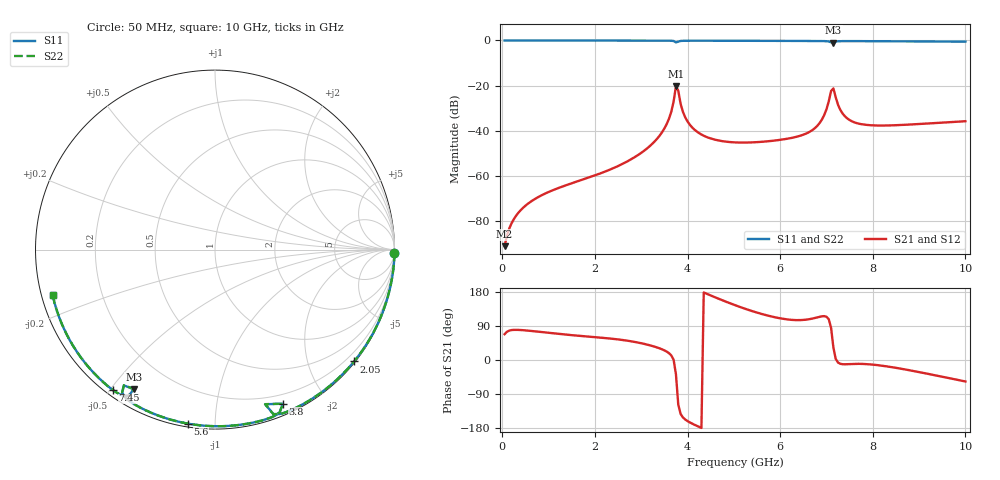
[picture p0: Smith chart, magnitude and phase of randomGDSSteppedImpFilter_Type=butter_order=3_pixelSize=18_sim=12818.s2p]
! freq	dB(S11)	phase(S11)	dB(S12)	phase(S12)
!  dB(S21)	phase(S21)	dB(S22)	phase(S22)
!S-par simulation data
#  GHz  S  DB  R 50
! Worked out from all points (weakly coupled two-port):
!   200 points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, 50 MHz to 10 GHz, reference 50 ohm
!   highest |S21| = -20.21 dB at 3.75 GHz (marker M1); lowest = -91.2 dB at 50 MHz (marker M2)
!   lowest |S11| = -0.9 dB at 7.15 GHz (marker M3), VSWR 19.03, Z = 3.49 - j28.6 ohm
!   |S11| at or under -10 dB: nowhere
!   |S22| runs from -0.9 to 0.0 dB; largest |S21 - S12| = 0
!   S11 on the Smith chart (normalised r, x): 50 MHz: open; 2.05 GHz: 0.03, -2.84; 3.8 GHz: 0.11, -1.53; 5.6 GHz: 0.02, -0.86; 7.45 GHz: 0.02, -0.51; 10 GHz: 0.03, -0.14
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0.05  -0.00 -1.0  -91.18 68.1  -91.18 68.1  -0.00 -1.0
0.2  -0.00 -3.9  -81.04 79.0  -81.04 79.0  -0.00 -3.9
0.8  -0.02 -15.4  -69.14 74.3  -69.14 74.3  -0.02 -15.4
1.75  -0.04 -33.2  -61.58 62.8  -61.58 62.8  -0.04 -33.3
2.05  -0.05 -38.8  -59.44 59.8  -59.44 59.8  -0.05 -38.8
2.9  -0.07 -54.2  -51.20 46.8  -51.20 46.8  -0.07 -54.2
3.4  -0.09 -63.3  -42.12 30.6  -42.12 30.6  -0.09 -63.3
3.6  -0.11 -67.3  -34.68 18.0  -34.68 18.0  -0.11 -67.4
3.7  -0.24 -70.4  -27.01 0.3  -27.01 0.3  -0.24 -70.5
3.75  -0.86 -72.0  -20.21 -38.0  -20.21 -38.0  -0.87 -72.1
3.8  -0.55 -66.2  -22.27 -117.8  -22.27 -117.8  -0.56 -66.2
3.95  -0.13 -71.1  -34.08 -157.0  -34.08 -157.0  -0.13 -71.1
4.15  -0.11 -75.0  -39.54 -170.9  -39.54 -170.9  -0.11 -75.0
5.05  -0.14 -90.1  -45.21 143.6  -45.21 143.6  -0.14 -90.1
5.6  -0.16 -98.9  -44.92 121.5  -44.92 121.5  -0.16 -98.9
6.7  -0.24 -116.1  -39.68 109.4  -39.68 109.4  -0.24 -116.2
6.95  -0.30 -120.5  -33.13 115.8  -33.13 115.8  -0.30 -120.6
7.15  -0.91 -120.2  -21.25 32.9  -21.25 32.9  -0.93 -120.2
7.3  -0.31 -123.2  -30.80 -10.1  -30.80 -10.1  -0.31 -123.2
7.45  -0.29 -126.0  -34.57 -11.0  -34.57 -11.0  -0.29 -126.0
8.35  -0.36 -139.8  -37.67 -17.7  -37.67 -17.7  -0.36 -139.8
10  -0.54 -164.4  -35.80 -56.7  -35.80 -56.7  -0.54 -164.4
